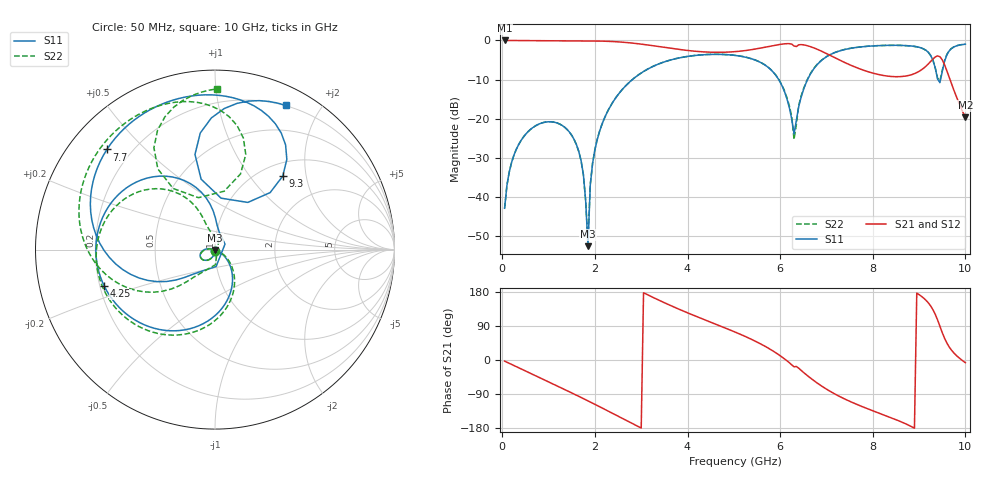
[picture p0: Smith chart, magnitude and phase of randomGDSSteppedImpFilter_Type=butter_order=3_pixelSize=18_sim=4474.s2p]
! freq	dB(S11)	phase(S11)	dB(S12)	phase(S12)
!  dB(S21)	phase(S21)	dB(S22)	phase(S22)
!S-par simulation data
#  GHz  S  DB  R 50
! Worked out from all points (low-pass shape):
!   200 points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, 50 MHz to 10 GHz, reference 50 ohm
!   highest |S21| = -0.01 dB at 50 MHz (marker M1); lowest = -19.7 dB at 10 GHz (marker M2)
!   |S21| within 3 dB of the highest: start of sweep to 4.492 GHz; 4.824 GHz to 6.938 GHz (2.115 GHz wide, 36 % of centre)
!   lowest |S11| = -52.6 dB at 1.85 GHz (marker M3), VSWR 1.00, Z = 50.1 - j0.21 ohm
!   |S11| at or under -10 dB: start of sweep to 2.81 GHz; 5.967 GHz to 6.593 GHz (625.6 MHz wide, 9.96 % of centre); 9.406 GHz to 9.464 GHz (58.1 MHz wide, 0.616 % of centre)
!   |S22| runs from -51.4 to -1.0 dB; largest |S21 - S12| = 0
!   S11 on the Smith chart (normalised r, x): 50 MHz: 1.00, -0.01; 4.25 GHz: 0.22, -0.15; 7.7 GHz: 0.11, +0.39; 9.3 GHz: 1.24, +1.47; 10 GHz: 0.20, +1.59
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0.05  -42.92 -85.9  -0.01 -2.9  -0.01 -2.9  -42.92 -85.8
0.3  -27.91 -107.4  -0.03 -17.4  -0.03 -17.4  -27.91 -107.0
0.8  -21.34 -137.6  -0.09 -46.3  -0.09 -46.3  -21.34 -136.3
1.45  -23.44 -175.8  -0.12 -83.9  -0.12 -83.9  -23.46 -173.4
1.75  -34.19 166.5  -0.12 -101.8  -0.12 -101.8  -34.26 170.4
1.85  -52.60 -63.3  -0.12 -107.8  -0.12 -107.8  -51.45 -55.3
1.9  -36.97 -24.2  -0.13 -110.9  -0.13 -110.9  -36.83 -23.1
1.95  -31.44 -26.9  -0.14 -114.0  -0.14 -114.0  -31.36 -24.9
2.15  -21.54 -39.1  -0.18 -126.3  -0.18 -126.3  -21.51 -36.1
3.4  -5.91 -116.6  -1.61 156.8  -1.61 156.8  -5.90 -111.0
4.25  -3.75 -161.7  -2.85 112.0  -2.85 112.0  -3.74 -154.1
5.05  -3.87 158.5  -2.85 72.6  -2.85 72.6  -3.85 168.7
5.95  -9.66 103.4  -1.11 15.5  -1.11 15.5  -9.59 119.4
6.3  -23.90 28.9  -1.43 -17.9  -1.43 -17.9  -25.30 67.7
6.7  -7.71 -155.3  -1.78 -51.8  -1.78 -51.8  -7.61 -145.2
7.7  -1.71 137.2  -7.19 -119.4  -7.19 -119.4  -1.70 153.8
8.35  -1.26 105.6  -9.17 -150.3  -9.17 -150.3  -1.26 125.3
8.95  -1.62 74.8  -8.23 176.4  -8.23 176.4  -1.64 97.2
9.3  -5.09 47.3  -4.75 132.6  -4.75 132.6  -5.09 72.1
9.45  -10.80 83.3  -4.17 89.0  -4.17 89.0  -10.35 107.7
9.55  -5.32 101.9  -6.23 57.4  -6.23 57.4  -5.17 125.3
10  -0.97 63.9  -19.66 -7.2  -19.66 -7.2  -0.96 89.5
